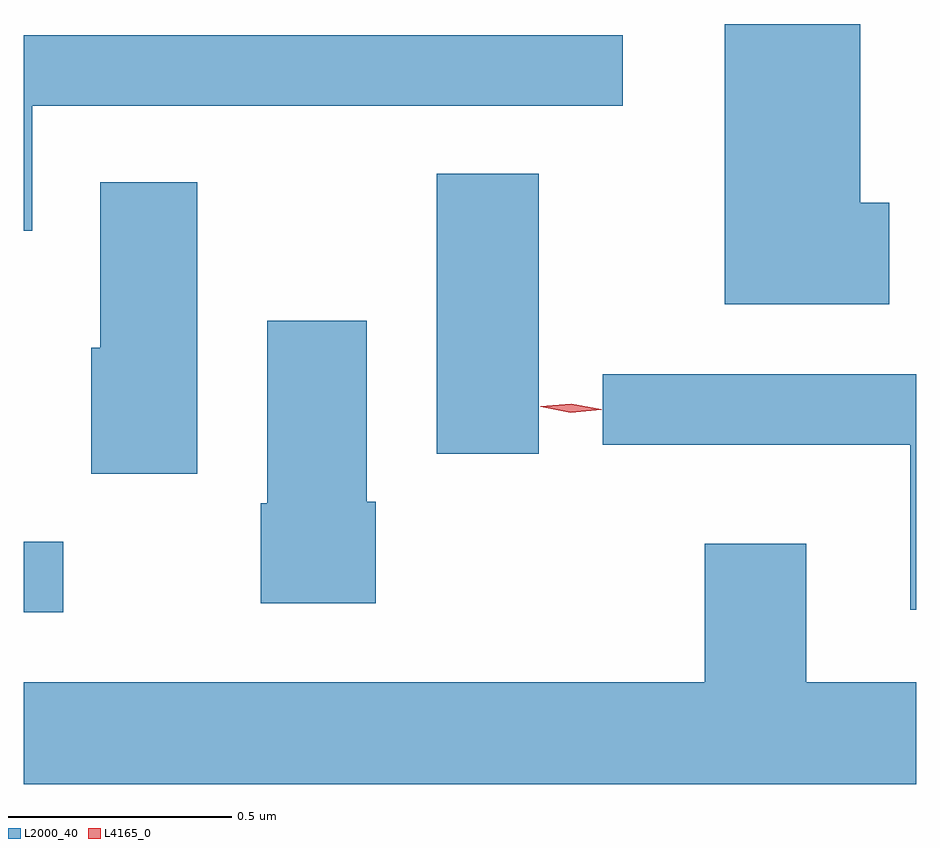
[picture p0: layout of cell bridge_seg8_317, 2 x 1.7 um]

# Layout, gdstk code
import gdstk
lib = gdstk.Library(unit=1e-6, precision=1e-09)
def R(c, l, rs):  # rectangles x0, y0, x1, y1
    for r in rs: c.add(gdstk.rectangle(r[:2], r[2:], *l))
def P(c, l, *ps):  # polygons
    for p in ps: c.add(gdstk.Polygon(p, *l))
L2000_40 = (2000, 40)
L4165_0 = (4165, 0)

bridge_seg8_317 = lib.new_cell('bridge_seg8_317')
R(bridge_seg8_317, L2000_40, [(1032.435,1876.801,1032.523,1876.959), (1033.361,1877.156,1033.589,1877.784)])
P(bridge_seg8_317, L2000_40, [(1034.374,1877.719),(1034.309,1877.719),(1034.309,1878.119),(1034.006,1878.119),(1034.006,1877.491),(1034.374,1877.491)],
  [(1032.454,1877.936),(1033.777,1877.936),(1033.777,1878.094),(1032.435,1878.094),(1032.435,1877.656),(1032.454,1877.656)],
  [(1032.824,1877.764),(1032.606,1877.764),(1032.606,1877.394),(1032.586,1877.394),(1032.586,1877.111),(1032.824,1877.111)],
  [(1033.224,1877.049),(1033.204,1877.049),(1033.204,1877.454),(1032.981,1877.454),(1032.981,1877.045),(1032.966,1877.045),(1032.966,1876.821),(1033.224,1876.821)],
  [(1034.435,1877.334),(1033.733,1877.334),(1033.733,1877.176),(1034.421,1877.176),(1034.421,1876.806),(1034.435,1876.806)],
  [(1034.435,1876.644),(1034.189,1876.644),(1034.189,1876.954),(1033.961,1876.954),(1033.961,1876.644),(1032.435,1876.644),(1032.435,1876.416),(1034.435,1876.416)])
P(bridge_seg8_317, L4165_0, [(1033.661,1877.248),(1033.593,1877.261),(1033.592,1877.261),(1033.593,1877.262),(1033.662,1877.268),(1033.729,1877.256),(1033.73,1877.255),(1033.729,1877.255)])

lib.write_gds('bridge_seg8_317.gds')
